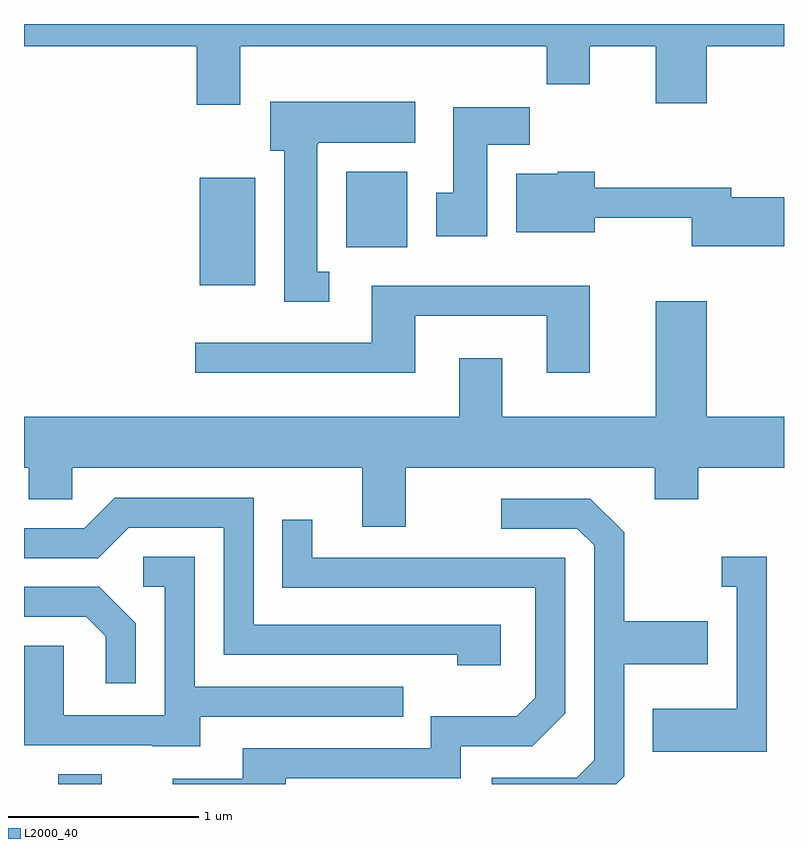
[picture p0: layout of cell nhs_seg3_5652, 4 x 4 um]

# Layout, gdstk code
import gdstk
lib = gdstk.Library(unit=1e-6, precision=1e-09)
def R(c, l, rs):  # rectangles x0, y0, x1, y1
    for r in rs: c.add(gdstk.rectangle(r[:2], r[2:], *l))
def P(c, l, *ps):  # polygons
    for p in ps: c.add(gdstk.Polygon(p, *l))
L2000_40 = (2000, 40)

nhs_seg3_5652 = lib.new_cell('nhs_seg3_5652')
R(nhs_seg3_5652, L2000_40, [(351.791,1139.892,352.019,1139.944), (352.536,1142.516,352.829,1143.084), (353.306,1142.716,353.629,1143.114)])
P(nhs_seg3_5652, L2000_40, [(352.749,1143.776),(354.361,1143.776),(354.361,1143.576),(354.589,1143.576),(354.589,1143.776),(354.936,1143.776),(354.936,1143.476),(355.204,1143.476),(355.204,1143.776),(355.611,1143.776),(355.611,1143.892),(351.611,1143.892),(351.611,1143.776),(352.521,1143.776),(352.521,1143.466),(352.749,1143.466)],
  [(353.218,1142.589),(353.154,1142.589),(353.154,1143.26),(353.16,1143.26),(353.16,1143.266),(353.669,1143.266),(353.669,1143.484),(352.906,1143.484),(352.906,1143.226),(352.981,1143.226),(352.981,1142.431),(353.218,1142.431)],
  [(354.049,1143.256),(354.274,1143.256),(354.274,1143.454),(353.871,1143.454),(353.871,1143.004),(353.781,1143.004),(353.781,1142.776),(354.049,1142.776)],
  [(355.611,1142.979),(355.334,1142.979),(355.334,1143.029),(354.614,1143.029),(354.614,1143.114),(354.42,1143.114),(354.42,1143.104),(354.201,1143.104),(354.201,1142.796),(354.614,1142.796),(354.614,1142.871),(355.126,1142.871),(355.126,1142.721),(355.611,1142.721)],
  [(353.669,1142.356),(354.361,1142.356),(354.361,1142.056),(354.589,1142.056),(354.589,1142.514),(353.441,1142.514),(353.441,1142.214),(352.513,1142.214),(352.513,1142.056),(353.669,1142.056)],
  [(353.619,1141.556),(354.931,1141.556),(354.931,1141.391),(355.159,1141.391),(355.159,1141.556),(355.611,1141.556),(355.611,1141.824),(355.204,1141.824),(355.204,1142.434),(354.936,1142.434),(354.936,1141.824),(354.129,1141.824),(354.129,1142.134),(353.901,1142.134),(353.901,1141.824),(351.611,1141.824),(351.611,1141.556),(351.636,1141.556),(351.636,1141.391),(351.864,1141.391),(351.864,1141.556),(353.391,1141.556),(353.391,1141.246),(353.619,1141.246)],
  [(354.119,1140.729),(352.819,1140.729),(352.819,1141.399),(352.089,1141.399),(351.929,1141.239),(351.611,1141.239),(351.611,1141.081),(352.002,1141.081),(352.162,1141.241),(352.661,1141.241),(352.661,1140.571),(353.891,1140.571),(353.891,1140.516),(354.119,1140.516)],
  [(354.769,1139.934),(354.769,1140.521),(355.209,1140.521),(355.209,1140.749),(354.769,1140.749),(354.769,1141.217),(354.592,1141.394),(354.123,1141.394),(354.123,1141.236),(354.524,1141.236),(354.611,1141.149),(354.611,1140.017),(354.519,1139.924),(354.073,1139.924),(354.073,1139.892),(354.727,1139.892)],
  [(352.989,1139.921),(353.909,1139.921),(353.909,1140.091),(354.287,1140.091),(354.459,1140.264),(354.459,1141.084),(353.129,1141.084),(353.129,1141.283),(352.971,1141.283),(352.971,1140.926),(354.301,1140.926),(354.301,1140.347),(354.204,1140.249),(353.751,1140.249),(353.751,1140.079),(352.761,1140.079),(352.761,1139.919),(352.393,1139.919),(352.393,1139.892),(352.989,1139.892)],
  [(355.519,1141.089),(355.283,1141.089),(355.283,1140.931),(355.361,1140.931),(355.361,1140.289),(354.921,1140.289),(354.921,1140.061),(355.519,1140.061)],
  [(352.539,1140.246),(353.608,1140.246),(353.608,1140.404),(352.509,1140.404),(352.509,1141.089),(352.238,1141.089),(352.238,1140.931),(352.351,1140.931),(352.351,1140.254),(351.819,1140.254),(351.819,1140.619),(351.611,1140.619),(351.611,1140.096),(352.285,1140.096),(352.285,1140.091),(352.539,1140.091)],
  [(352.199,1140.737),(352.007,1140.929),(351.611,1140.929),(351.611,1140.771),(351.939,1140.771),(352.041,1140.669),(352.041,1140.423),(352.199,1140.423)])

lib.write_gds('nhs_seg3_5652.gds')
